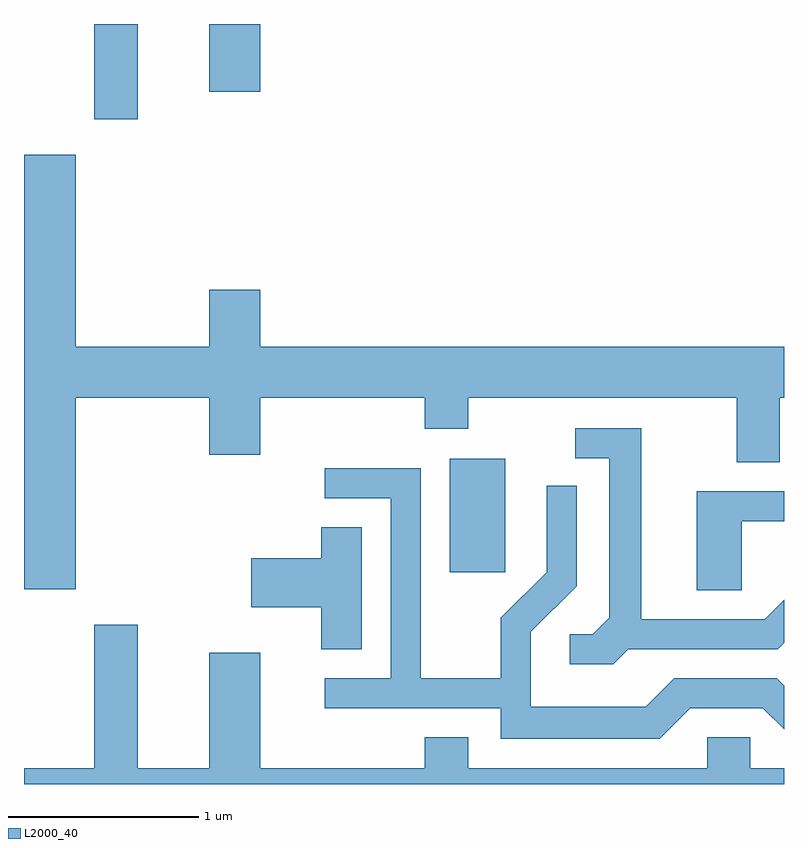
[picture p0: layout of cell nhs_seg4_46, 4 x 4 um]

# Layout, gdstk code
import gdstk
lib = gdstk.Library(unit=1e-6, precision=1e-09)
def R(c, l, rs):  # rectangles x0, y0, x1, y1
    for r in rs: c.add(gdstk.rectangle(r[:2], r[2:], *l))
def P(c, l, *ps):  # polygons
    for p in ps: c.add(gdstk.Polygon(p, *l))
L2000_40 = (2000, 40)

nhs_seg4_46 = lib.new_cell('nhs_seg4_46')
R(nhs_seg4_46, L2000_40, [(187.851,1347.096,188.144,1347.694), (185.981,1349.481,186.209,1349.982), (186.586,1349.626,186.854,1349.982)])
P(nhs_seg4_46, L2000_40, [(185.884,1348.016),(186.586,1348.016),(186.586,1347.716),(186.854,1347.716),(186.854,1348.016),(187.721,1348.016),(187.721,1347.851),(187.949,1347.851),(187.949,1348.016),(189.361,1348.016),(189.361,1347.676),(189.589,1347.676),(189.589,1348.016),(189.611,1348.016),(189.611,1348.284),(186.854,1348.284),(186.854,1348.584),(186.586,1348.584),(186.586,1348.284),(185.884,1348.284),(185.884,1349.294),(185.611,1349.294),(185.611,1347.006),(185.884,1347.006)],
  [(188.792,1346.691),(189.577,1346.691),(189.611,1346.725),(189.611,1346.952),(189.509,1346.849),(188.859,1346.849),(188.859,1347.854),(188.513,1347.854),(188.513,1347.696),(188.691,1347.696),(188.691,1346.857),(188.604,1346.769),(188.483,1346.769),(188.483,1346.611),(188.712,1346.611)],
  [(189.117,1346.381),(189.499,1346.381),(189.611,1346.269),(189.611,1346.5),(189.572,1346.539),(189.034,1346.539),(188.884,1346.389),(188.279,1346.389),(188.279,1346.784),(188.519,1347.024),(188.519,1347.553),(188.361,1347.553),(188.361,1347.097),(188.121,1346.857),(188.121,1346.539),(187.699,1346.539),(187.699,1347.644),(187.193,1347.644),(187.193,1347.486),(187.541,1347.486),(187.541,1346.539),(187.193,1346.539),(187.193,1346.381),(188.121,1346.381),(188.121,1346.221),(188.957,1346.221)],
  [(189.389,1347.366),(189.611,1347.366),(189.611,1347.524),(189.151,1347.524),(189.151,1347.001),(189.389,1347.001)],
  [(187.389,1347.334),(187.176,1347.334),(187.176,1347.169),(186.806,1347.169),(186.806,1346.911),(187.176,1346.911),(187.176,1346.691),(187.389,1346.691)],
  [(189.611,1346.064),(189.434,1346.064),(189.434,1346.229),(189.206,1346.229),(189.206,1346.064),(187.949,1346.064),(187.949,1346.229),(187.721,1346.229),(187.721,1346.064),(186.854,1346.064),(186.854,1346.674),(186.586,1346.674),(186.586,1346.064),(186.209,1346.064),(186.209,1346.819),(185.981,1346.819),(185.981,1346.064),(185.611,1346.064),(185.611,1345.982),(189.611,1345.982)])

lib.write_gds('nhs_seg4_46.gds')
